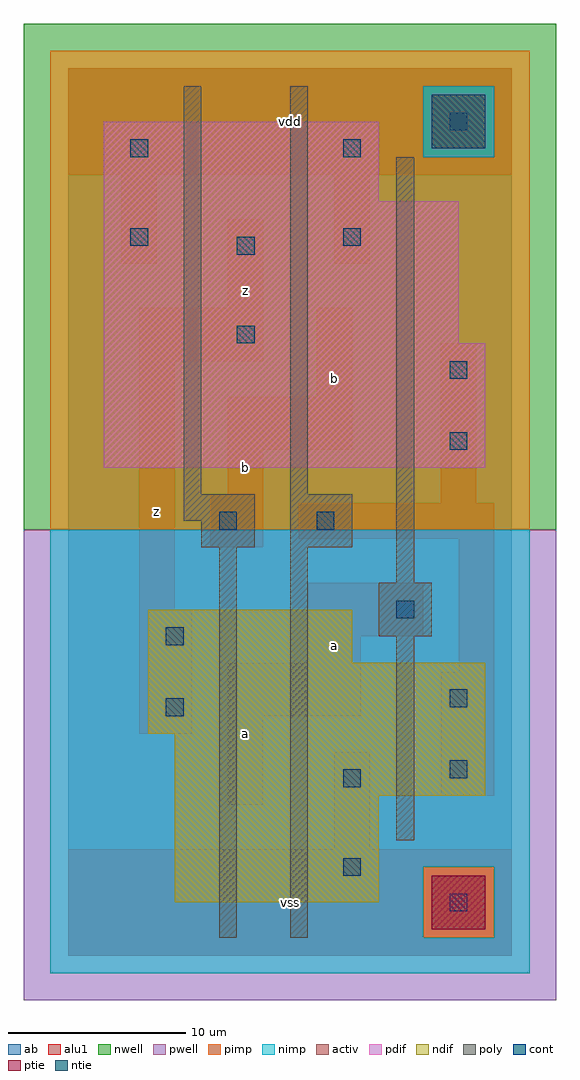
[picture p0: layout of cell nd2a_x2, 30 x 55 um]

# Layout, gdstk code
import gdstk
lib = gdstk.Library(unit=1e-6, precision=1e-09)
def R(c, l, rs):  # rectangles x0, y0, x1, y1
    for r in rs: c.add(gdstk.rectangle(r[:2], r[2:], *l))
ndif = (3, 0)
pdif = (4, 0)
ntie = (5, 0)
ptie = (6, 0)
cont = (25, 0)
pwell = (41, 0)
nwell = (42, 0)
activ = (43, 0)
pimp = (44, 0)
nimp = (45, 0)
poly = (46, 0)
alu1 = (49, 0)
ab = (63, 0)

nd2a_x2 = lib.new_cell('nd2a_x2')
R(nd2a_x2, ndif, [(6,3,17.5,9), (6,9,23.5,12.5), (4.5,12.5,23.5,16.5), (4.5,16.5,16,19.5)])
R(nd2a_x2, pdif, [(2,27.5,23.5,34.5), (2,34.5,22,42.5), (2,42.5,17.5,47)])
R(nd2a_x2, ntie, [(20.5,45.5,23.5,48.5)])
R(nd2a_x2, ptie, [(20.5,1.5,23.5,4.5)])
R(nd2a_x2, cont, [(21.5,2.5,22.5,3.5), (15.5,4.5,16.5,5.5), (15.5,9.5,16.5,10.5), (21.5,10,22.5,11), (5.5,13.5,6.5,14.5), (21.5,14,22.5,15), (5.5,17.5,6.5,18.5), (18.5,19,19.5,20), (8.5,24,9.5,25), (14,24,15,25), (21.5,28.5,22.5,29.5), (21.5,32.5,22.5,33.5), (9.5,34.5,10.5,35.5), (9.5,39.5,10.5,40.5), (3.5,40,4.5,41), (15.5,40,16.5,41), (3.5,45,4.5,46), (15.5,45,16.5,46), (21.5,46.5,22.5,47.5)])
R(nd2a_x2, pwell, [(-2.5,-2.5,27.5,24)])
R(nd2a_x2, nwell, [(-2.5,24,27.5,52.5)])
R(nd2a_x2, activ, [(20.5,1.5,23.5,4.5), (6,3,17.5,9), (6,9,23.5,12.5), (4.5,12.5,23.5,16.5), (4.5,16.5,16,19.5), (2,27.5,23.5,34.5), (2,34.5,22,42.5), (2,42.5,17.5,47), (20.5,45.5,23.5,48.5)])
R(nd2a_x2, pimp, [(20,1,24,5), (-1,24,26,45), (-1,45,20,49), (24,45,26,49), (-1,49,26,51)])
R(nd2a_x2, nimp, [(-1,-1,26,1), (-1,1,20,5), (24,1,26,5), (-1,5,26,24), (20,45,24,49)])
R(nd2a_x2, poly, [(8.5,1,9.5,23), (12.5,1,13.5,23), (18.5,6.5,19.5,18), (17.5,18,20.5,21), (18.5,21,19.5,45), (7.5,23,10.5,24.5), (12.5,23,16,26), (6.5,24.5,10.5,26), (6.5,26,7.5,49), (12.5,26,13.5,49)])
R(nd2a_x2, alu1, [(0,0,25,6), (0,0,25,6), (15,6,17,11.5), (15,6,17,11.5), (9,8.5,11,13.5), (9,8.5,11,13.5), (21,9,24,16), (21,9,24,16), (4,12.5,7,19.5), (4,12.5,7,19.5), (9,13.5,16.5,16.5), (9,13.5,16.5,16.5), (22,16,24,23.5), (22,16,24,23.5), (13.5,16.5,16.5,18), (13.5,16.5,16.5,18), (13.5,18,20,21), (13.5,18,20,21), (4,19.5,6,33.5), (4,19.5,6,33.5), (8,23,11,26), (8,23,11,26), (13,23.5,24,25.5), (13,23.5,24,25.5), (21,25.5,23,34.5), (21,25.5,23,34.5), (9,26,11,28.5), (9,26,11,28.5), (9,28.5,16,31.5), (9,28.5,16,31.5), (14,31.5,16,36.5), (14,31.5,16,36.5), (4,33.5,11,36.5), (4,33.5,11,36.5), (9,36.5,11,41.5), (9,36.5,11,41.5), (3,39,5,44), (3,39,5,44), (15,39,17,44), (15,39,17,44), (0,44,25,50), (0,44,25,50)])
R(nd2a_x2, ab, [(0,0,25,50)])
nd2a_x2.add(gdstk.Label('a', (10,12.5), layer=49, texttype=0))
nd2a_x2.add(gdstk.Label('z', (5,25), layer=49, texttype=0))
nd2a_x2.add(gdstk.Label('b', (10,27.5), layer=49, texttype=0))
nd2a_x2.add(gdstk.Label('z', (10,37.5), layer=49, texttype=0))
nd2a_x2.add(gdstk.Label('vss', (12.5,3), layer=49, texttype=0))
nd2a_x2.add(gdstk.Label('a', (15,17.5), layer=49, texttype=0))
nd2a_x2.add(gdstk.Label('b', (15,32.5), layer=49, texttype=0))
nd2a_x2.add(gdstk.Label('vdd', (12.5,47), layer=49, texttype=0))

lib.write_gds('nd2a_x2.gds')
